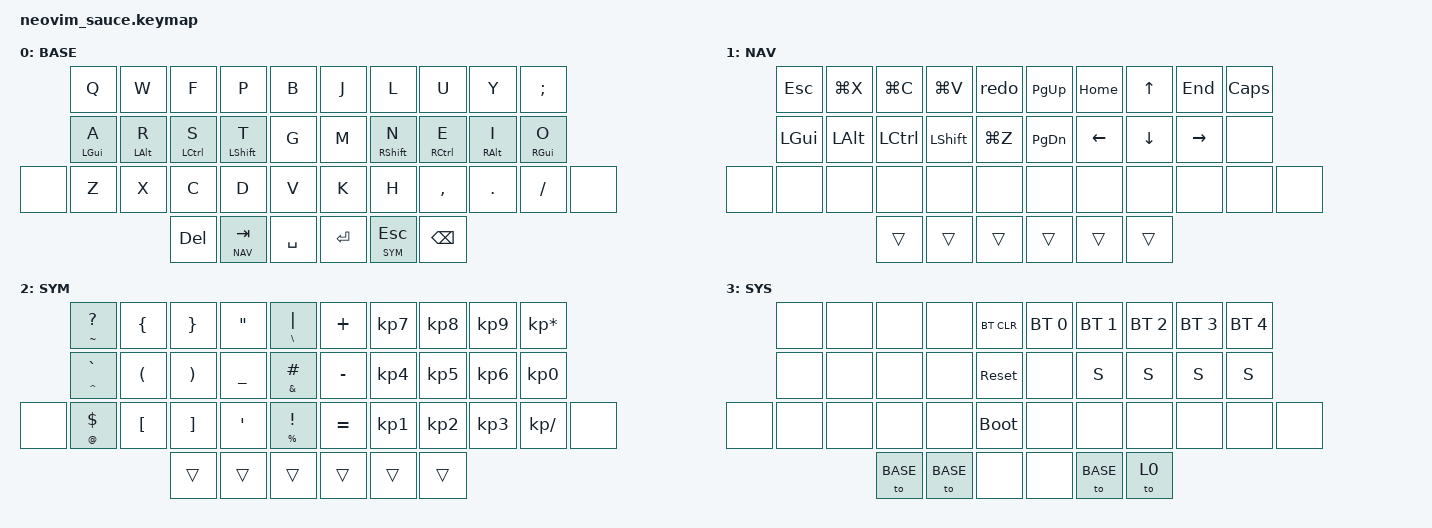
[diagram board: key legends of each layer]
#include <behaviors.dtsi>
#include <dt-bindings/zmk/bt.h>
#include <dt-bindings/zmk/keys.h>

#define BASE 0
#define NAV  1
#define SYM  2
#define SYS  3

// -----------------------------------------------------------------------------------------
//  BEHAVIORS
// -----------------------------------------------------------------------------------------

&mt {
    flavor = "balanced";
    tapping-term-ms = <280>;
    quick-tap-ms = <175>;
    require-prior-idle-ms = <150>;
};

&lt {
    flavor = "balanced";
    tapping-term-ms = <280>;
    quick-tap-ms = <175>;
    require-prior-idle-ms = <150>;
};

/ {
    macros {
        // Macro: Redo (Cmd + Shift + Z)

        redo: redo {
            compatible = "zmk,behavior-macro";
            #binding-cells = <0>;
            bindings =
                <&macro_press>,
                <&kp LGUI &kp LSHFT>,
                <&macro_tap>,
                <&kp Z>,
                <&macro_release>,
                <&kp LGUI &kp LSHFT>;
        };
    };

    combos {
        compatible = "zmk,combos";

        // Combo: Both Inner Thumbs -> System Layer

        combo_sys_layer {
            bindings = <&to SYS>;
            key-positions = <31 20>;
            layers = <0>;
        };
    };

    keymap {
        compatible = "zmk,keymap";

        // ---------------------------------------------------------------------------------------------------------------------------
        // LAYER 0: BASE (Colemak-DH)
        // Note: < > ? are typed via Shift + , . / respectively

        base_layer {
            label = "BASE";
            bindings = <
       &kp Q       &kp W       &kp F        &kp P        &kp B        &kp J    &kp L        &kp U        &kp Y       &kp SEMI
       &mt LGUI A  &mt LALT R  &mt LCTRL S  &mt LSHFT T  &kp G        &kp M    &mt RSHFT N  &mt RCTRL E  &mt RALT I  &mt RGUI O
&none  &kp Z       &kp X       &kp C        &kp D        &kp V        &kp K    &kp H        &kp COMMA    &kp DOT     &kp FSLH    &none
                               &kp DEL      &lt NAV TAB  &kp SPACE    &kp RET  &lt SYM ESC  &kp BSPC
            >;
        };

        // ---------------------------------------------------------------------------------------------------------------------------
        // LAYER 1: NAV (Navigation & Editing)
        // Left Hand: Macros on Top Row. Modifiers on Home Row (for one-handed shortcuts).
        // Right Hand: Arrows in "Inverted T" (IJKL style) for Vim feel.

        nav_layer {
            label = "NAV";
            bindings = <
       &kp ESC   &kp LG(X)     &kp LG(C)  &kp LG(V)   &redo        &kp PG_UP  &kp HOME  &kp UP    &kp END    &kp CAPS
       &kp LGUI  &kp LEFT_ALT  &kp LCTRL  &kp LSHIFT  &kp LG(Z)    &kp PG_DN  &kp LEFT  &kp DOWN  &kp RIGHT  &none
&none  &none     &none         &none      &none       &none        &none      &none     &none     &none      &none     &none
                               &trans     &trans      &trans       &trans     &trans    &trans
            >;
        };

        // ---------------------------------------------------------------------------------------------------------------------------
        // LAYER 2: SYM (Code & Numbers)
        // Includes dedicated keys for Underscore, Quotes, Backtick.
        // < > ? are preserved on the comma/dot/slash keys if you press Shift here too.

        sym_layer {
            label = "SYM";
            bindings = <
       &mt TILDE QMARK  &kp LBRC  &kp RBRC  &kp DQT    &mt BSLH PIPE     &kp PLUS   &kp KP_N7  &kp KP_N8  &kp KP_N9  &kp KP_MULTIPLY
       &mt CARET GRAVE  &kp LPAR  &kp RPAR  &kp UNDER  &mt AMPS HASH     &kp MINUS  &kp KP_N4  &kp KP_N5  &kp KP_N6  &kp KP_N0
&none  &mt AT DLLR      &kp LBKT  &kp RBKT  &kp SQT    &mt PRCNT EXCL    &kp EQUAL  &kp KP_N1  &kp KP_N2  &kp KP_N3  &kp KP_DIVIDE    &none
                                  &trans    &trans     &trans            &trans     &trans     &trans
            >;
        };

        // ---------------------------------------------------------------------------------------------------------------------------
        // LAYER 3: SYS (Hardware)

        sys_layer {
            label = "SYS";
            bindings = <
       &none  &none  &none     &none     &bt BT_CLR     &bt BT_SEL 0  &bt BT_SEL 1  &bt BT_SEL 2  &bt BT_SEL 3  &bt BT_SEL 4
       &none  &none  &none     &none     &sys_reset     &none         &kp S         &kp S         &kp S         &kp S
&none  &none  &none  &none     &none     &bootloader    &none         &none         &none         &none         &none         &none
                     &to BASE  &to BASE  &none          &none         &to BASE      &to 0
            >;
        };
    };
};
